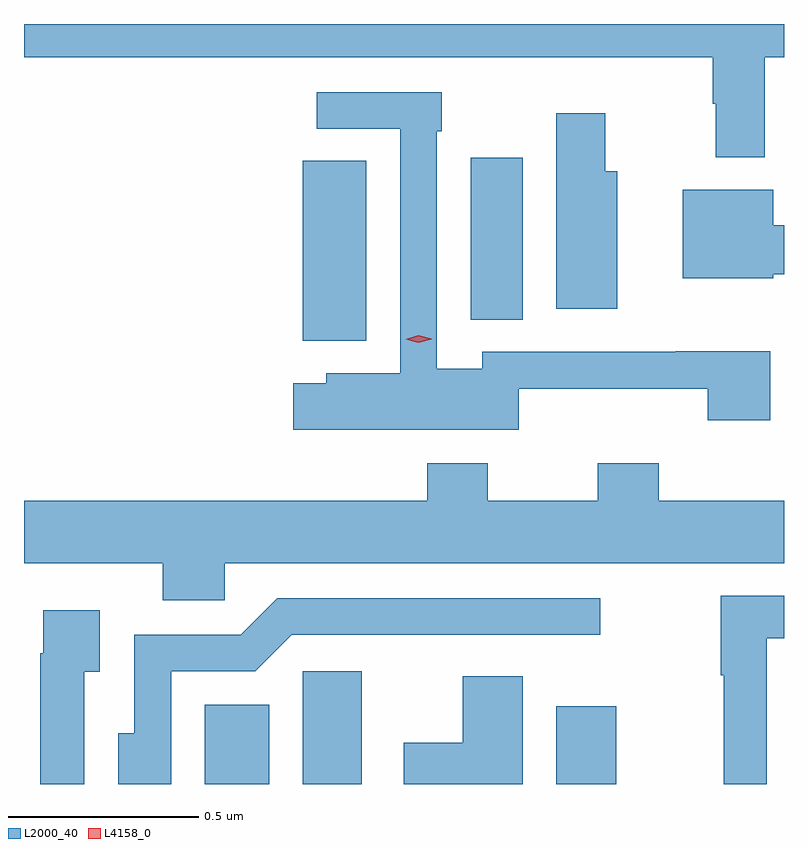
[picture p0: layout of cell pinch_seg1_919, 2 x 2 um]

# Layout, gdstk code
import gdstk
lib = gdstk.Library(unit=1e-6, precision=1e-09)
def R(c, l, rs):  # rectangles x0, y0, x1, y1
    for r in rs: c.add(gdstk.rectangle(r[:2], r[2:], *l))
def P(c, l, *ps):  # polygons
    for p in ps: c.add(gdstk.Polygon(p, *l))
L2000_40 = (2000, 40)
L4158_0 = (4158, 0)

pinch_seg1_919 = lib.new_cell('pinch_seg1_919')
R(pinch_seg1_919, L2000_40, [(533.402,539.163,533.572,539.371), (533.66,539.163,533.815,539.46), (534.326,539.163,534.484,539.368), (533.66,540.329,533.827,540.803), (534.101,540.385,534.238,540.811)])
P(pinch_seg1_919, L2000_40, [(532.926,541.076),(534.739,541.076),(534.739,540.953),(534.747,540.953),(534.747,540.813),(534.875,540.813),(534.875,541.076),(534.926,541.076),(534.926,541.163),(532.926,541.163)],
  [(534.228,540.203),(534.725,540.203),(534.725,540.12),(534.89,540.12),(534.89,540.302),(534.641,540.302),(534.641,540.3),(534.132,540.3),(534.132,540.256),(534.012,540.256),(534.012,540.881),(534.025,540.881),(534.025,540.984),(533.697,540.984),(533.697,540.888),(533.916,540.888),(533.916,540.244),(533.721,540.244),(533.721,540.217),(533.634,540.217),(533.634,540.095),(534.228,540.095)],
  [(534.487,540.775),(534.456,540.775),(534.456,540.928),(534.326,540.928),(534.326,540.414),(534.487,540.414)],
  [(534.898,540.505),(534.926,540.505),(534.926,540.634),(534.898,540.634),(534.898,540.727),(534.659,540.727),(534.659,540.494),(534.898,540.494)],
  [(533.454,539.744),(534.926,539.744),(534.926,539.908),(534.596,539.908),(534.596,540.007),(534.436,540.007),(534.436,539.908),(534.147,539.908),(534.147,540.007),(533.987,540.007),(533.987,539.908),(532.926,539.908),(532.926,539.744),(533.291,539.744),(533.291,539.646),(533.454,539.646)],
  [(534.88,539.546),(534.926,539.546),(534.926,539.659),(534.76,539.659),(534.76,539.449),(534.767,539.449),(534.767,539.163),(534.88,539.163)],
  [(533.313,539.46),(533.535,539.46),(533.631,539.556),(534.442,539.556),(534.442,539.652),(533.592,539.652),(533.496,539.556),(533.216,539.556),(533.216,539.296),(533.174,539.296),(533.174,539.163),(533.313,539.163)],
  [(533.085,539.459),(533.125,539.459),(533.125,539.62),(532.977,539.62),(532.977,539.507),(532.969,539.507),(532.969,539.163),(533.085,539.163)],
  [(534.238,539.446),(534.08,539.446),(534.08,539.272),(533.925,539.272),(533.925,539.163),(534.238,539.163)])
P(pinch_seg1_919, L4158_0, [(533.964,540.324),(533.93,540.333),(533.929,540.333),(533.93,540.333),(533.964,540.344),(533.999,540.335),(533.999,540.334),(533.999,540.334)])

lib.write_gds('pinch_seg1_919.gds')
